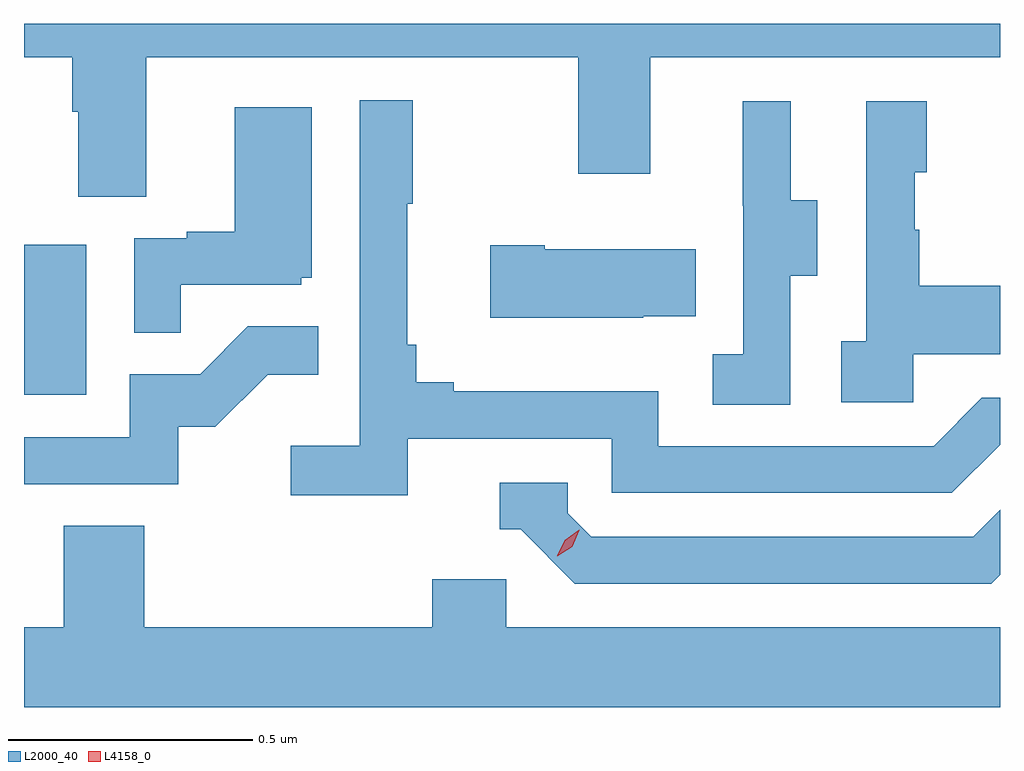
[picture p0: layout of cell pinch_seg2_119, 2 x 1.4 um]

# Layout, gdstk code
import gdstk
lib = gdstk.Library(unit=1e-6, precision=1e-09)
def R(c, l, rs):  # rectangles x0, y0, x1, y1
    for r in rs: c.add(gdstk.rectangle(r[:2], r[2:], *l))
def P(c, l, *ps):  # polygons
    for p in ps: c.add(gdstk.Polygon(p, *l))
L2000_40 = (2000, 40)
L4158_0 = (4158, 0)

pinch_seg2_119 = lib.new_cell('pinch_seg2_119')
R(pinch_seg2_119, L2000_40, [(1045.364,642.948,1045.492,643.255)])
P(pinch_seg2_119, L2000_40, [(1045.615,643.64),(1046.5,643.64),(1046.5,643.401),(1046.647,643.401),(1046.647,643.64),(1047.364,643.64),(1047.364,643.708),(1045.364,643.708),(1045.364,643.64),(1045.463,643.64),(1045.463,643.528),(1045.475,643.528),(1045.475,643.354),(1045.615,643.354)],
  [(1046.15,642.858),(1046.568,642.858),(1046.568,642.747),(1047.265,642.747),(1047.364,642.846),(1047.364,642.942),(1047.327,642.942),(1047.228,642.843),(1046.664,642.843),(1046.664,642.955),(1046.245,642.955),(1046.245,642.974),(1046.168,642.974),(1046.168,643.051),(1046.149,643.051),(1046.149,643.339),(1046.161,643.339),(1046.161,643.552),(1046.052,643.552),(1046.052,642.844),(1045.911,642.844),(1045.911,642.742),(1046.15,642.742)],
  [(1047.186,643.031),(1047.364,643.031),(1047.364,643.171),(1047.199,643.171),(1047.199,643.286),(1047.189,643.286),(1047.189,643.404),(1047.214,643.404),(1047.214,643.549),(1047.09,643.549),(1047.09,643.058),(1047.039,643.058),(1047.039,642.933),(1047.186,642.933)],
  [(1046.934,643.192),(1046.989,643.192),(1046.989,643.347),(1046.935,643.347),(1046.935,643.549),(1046.837,643.549),(1046.837,643.335),(1046.838,643.335),(1046.838,643.031),(1046.775,643.031),(1046.775,642.928),(1046.934,642.928)],
  [(1045.685,643.173),(1045.932,643.173),(1045.932,643.188),(1045.954,643.188),(1045.954,643.537),(1045.796,643.537),(1045.796,643.282),(1045.697,643.282),(1045.697,643.269),(1045.59,643.269),(1045.59,643.075),(1045.685,643.075)],
  [(1046.633,643.109),(1046.741,643.109),(1046.741,643.246),(1046.431,643.246),(1046.431,643.254),(1046.319,643.254),(1046.319,643.106),(1046.633,643.106)],
  [(1045.68,642.882),(1045.756,642.882),(1045.863,642.989),(1045.967,642.989),(1045.967,643.088),(1045.823,643.088),(1045.725,642.99),(1045.581,642.99),(1045.581,642.861),(1045.364,642.861),(1045.364,642.765),(1045.68,642.765)],
  [(1047.364,642.579),(1047.364,642.712),(1047.309,642.657),(1046.526,642.657),(1046.478,642.705),(1046.478,642.768),(1046.339,642.768),(1046.339,642.672),(1046.382,642.672),(1046.493,642.561),(1047.346,642.561)],
  [(1047.364,642.472),(1046.352,642.472),(1046.352,642.57),(1046.201,642.57),(1046.201,642.472),(1045.61,642.472),(1045.61,642.68),(1045.445,642.68),(1045.445,642.472),(1045.364,642.472),(1045.364,642.308),(1047.364,642.308)])
P(pinch_seg2_119, L4158_0, [(1046.457,642.617),(1046.457,642.618),(1046.472,642.65),(1046.502,642.671),(1046.502,642.671),(1046.502,642.67),(1046.487,642.637),(1046.457,642.617)])

lib.write_gds('pinch_seg2_119.gds')
